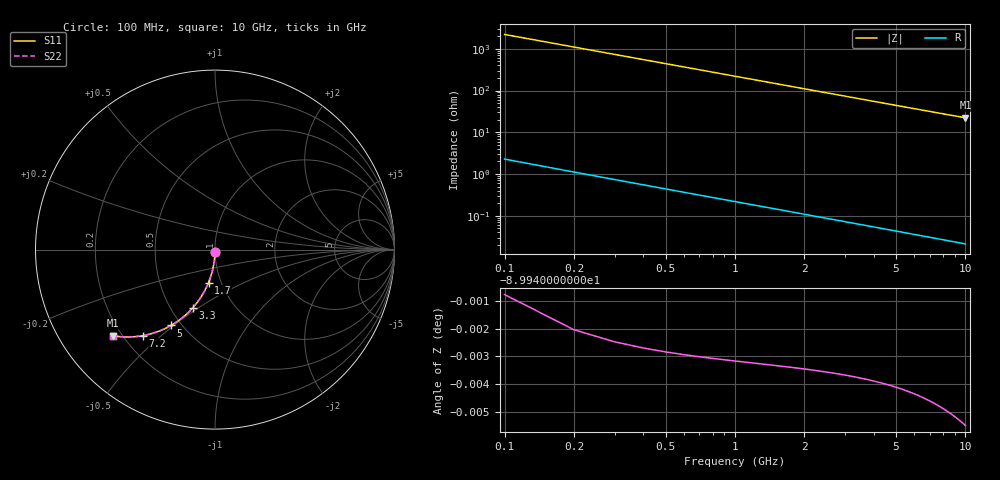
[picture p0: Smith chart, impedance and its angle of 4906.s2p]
# Hz S RI R 50.00
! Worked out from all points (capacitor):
!   100 points, 100 MHz to 10 GHz, reference 50 ohm
!   read as one part in shunt: C = 722 fF near 100 MHz
!   lowest |Z| = 22.2 ohm at 10 GHz (marker M1)
!   S11 on the Smith chart (normalised r, x): 100 MHz: 1.00, -0.02; 1.7 GHz: 0.87, -0.33; 3.3 GHz: 0.64, -0.47; 5 GHz: 0.44, -0.49; 7.2 GHz: 0.28, -0.44; 10 GHz: 0.17, -0.36
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1e8  -0.000106 -0.0112  0.9998 -0.0115  0.9998 -0.0115  -0.000106 -0.0112
2e8  -0.000503 -0.0224  0.9994 -0.023  0.9994 -0.023  -0.000503 -0.0224
3e8  -0.00116 -0.0336  0.9988 -0.0344  0.9988 -0.0344  -0.00116 -0.0336
4e8  -0.00207 -0.0447  0.9979 -0.0459  0.9979 -0.0459  -0.00207 -0.0447
5e8  -0.00323 -0.0558  0.9967 -0.0573  0.9967 -0.0573  -0.00323 -0.0558
6e8  -0.00465 -0.0669  0.9953 -0.0686  0.9953 -0.0686  -0.00465 -0.0669
8e8  -0.00823 -0.0889  0.9917 -0.0912  0.9917 -0.0912  -0.00823 -0.0889
1.1e9  -0.0154 -0.1213  0.9845 -0.1245  0.9845 -0.1245  -0.0154 -0.1213
1.4e9  -0.0247 -0.153  0.9752 -0.157  0.9752 -0.157  -0.0247 -0.153
1.7e9  -0.0361 -0.1836  0.9639 -0.1884  0.9639 -0.1884  -0.0361 -0.1836
1.8e9  -0.0402 -0.1936  0.9597 -0.1987  0.9597 -0.1987  -0.0402 -0.1936
2.1e9  -0.054 -0.2226  0.9459 -0.2286  0.9459 -0.2286  -0.054 -0.2226
2.5e9  -0.0748 -0.2591  0.9251 -0.2662  0.9251 -0.2662  -0.0748 -0.2591
3.3e9  -0.1235 -0.3239  0.8764 -0.3333  0.8764 -0.3333  -0.1235 -0.3239
3.4e9  -0.1301 -0.3311  0.8697 -0.3409  0.8697 -0.3409  -0.1301 -0.3311
4.2e9  -0.186 -0.3826  0.8139 -0.3947  0.8139 -0.3947  -0.186 -0.3826
5e9  -0.2448 -0.4223  0.7551 -0.4367  0.7551 -0.4367  -0.2448 -0.4223
5.1e9  -0.2522 -0.4264  0.7476 -0.4412  0.7476 -0.4412  -0.2522 -0.4264
6.7e9  -0.3684 -0.4721  0.6313 -0.4917  0.6313 -0.4917  -0.3684 -0.4721
7.2e9  -0.4026 -0.4794  0.5971 -0.5005  0.5971 -0.5005  -0.4026 -0.4794
8.4e9  -0.4789 -0.4867  0.5207 -0.5114  0.5207 -0.5114  -0.4789 -0.4867
1e10  -0.5664 -0.4802  0.4331 -0.5098  0.4331 -0.5098  -0.5664 -0.4802
